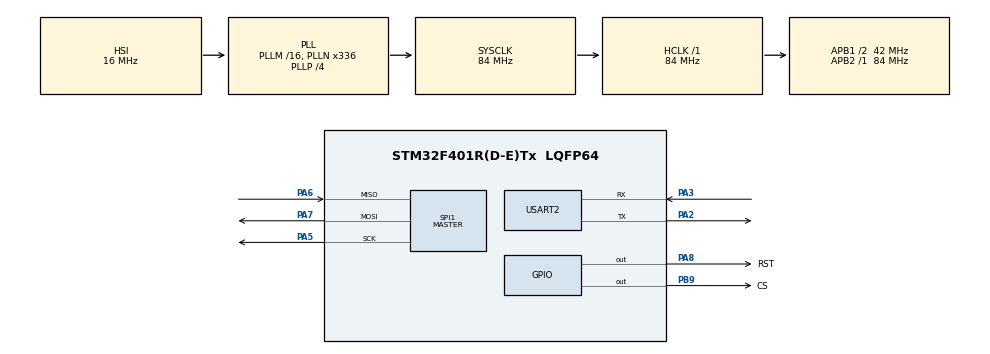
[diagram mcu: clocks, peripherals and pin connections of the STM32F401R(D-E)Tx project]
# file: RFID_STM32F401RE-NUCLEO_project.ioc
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Mcu.Family=STM32F4
Mcu.Name=STM32F401R(D-E)Tx
Mcu.Package=LQFP64
NVIC.PriorityGroup=NVIC_PRIORITYGROUP_0
PA13.Mode=Serial_Wire
PA13.Signal=SYS_JTMS-SWDIO
PA14.Mode=Serial_Wire
PA14.Signal=SYS_JTCK-SWCLK
PA2.Mode=Asynchronous
PA2.Signal=USART2_TX
PA3.Mode=Asynchronous
PA3.Signal=USART2_RX
PA5.Mode=Full_Duplex_Master
PA5.Signal=SPI1_SCK
PA6.Mode=Full_Duplex_Master
PA6.Signal=SPI1_MISO
PA7.Mode=Full_Duplex_Master
PA7.Signal=SPI1_MOSI
PA8.GPIO_Label=RST
PA8.Signal=GPIO_Output
PB9.GPIO_Label=CS
PB9.Signal=GPIO_Output
PH0\ -\ OSC_IN.Mode=HSE-External-Oscillator
PH0\ -\ OSC_IN.Signal=RCC_OSC_IN
PH1\ -\ OSC_OUT.Mode=HSE-External-Oscillator
PH1\ -\ OSC_OUT.Signal=RCC_OSC_OUT
ProjectManager.HeapSize=0x200
ProjectManager.StackSize=0x400
ProjectManager.TargetToolchain=STM32CubeIDE
RCC.48MHZClocksFreq_Value=48000000
RCC.AHBFreq_Value=84000000
RCC.APB1CLKDivider=RCC_HCLK_DIV2
RCC.APB1Freq_Value=42000000
RCC.APB1TimFreq_Value=84000000
RCC.APB2Freq_Value=84000000
RCC.APB2TimFreq_Value=84000000
RCC.CortexFreq_Value=84000000
RCC.HCLKFreq_Value=84000000
RCC.HSE_VALUE=8000000
RCC.HSI_VALUE=16000000
RCC.PLLN=336
RCC.PLLP=RCC_PLLP_DIV4
RCC.PLLQ=7
RCC.SYSCLKFreq_VALUE=84000000
RCC.SYSCLKSource=RCC_SYSCLKSOURCE_PLLCLK
RCC.VCOOutputFreq_Value=336000000
SPI1.BaudRatePrescaler=SPI_BAUDRATEPRESCALER_8
SPI1.Direction=SPI_DIRECTION_2LINES
SPI1.Mode=SPI_MODE_MASTER
SPI1.VirtualType=VM_MASTER
USART2.VirtualMode=VM_ASYNC
board=NUCLEO-F401RE

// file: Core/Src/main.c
/* USER CODE BEGIN Header */
/**
  ******************************************************************************
  * @file           : main.c
  * @brief          : Main program body
  ******************************************************************************
  * @attention
  *
  * Copyright (c) 2025 STMicroelectronics.
  * All rights reserved.
  *
  * This software is licensed under terms that can be found in the LICENSE file
  * in the root directory of this software component.
  * If no LICENSE file comes with this software, it is provided AS-IS.
  *
  ******************************************************************************
  */
/* USER CODE END Header */
#include "main.h"

/* USER CODE BEGIN Includes */
#include "RC522.h"
#include "string.h"
/* USER CODE END Includes */

SPI_HandleTypeDef hspi1;

UART_HandleTypeDef huart2;

/* USER CODE BEGIN PV */
uint8_t status ;
uint8_t str[16];
uint8_t sNum[5];

char *msg1 = "Reading from card \r\n";
char *msg2 = "Reading from TAG \r\n";
char *msg3 = "Hardware ERROR occured , PLEASE Check your RFID Module or Card/TAG !!\r\n";

/* USER CODE END PV */

void SystemClock_Config(void);
static void MX_GPIO_Init(void);
static void MX_SPI1_Init(void);
static void MX_USART2_UART_Init(void);

int main(void)
{

  /* MCU Configuration--------------------------------------------------------*/

  /* Reset of all peripherals, Initializes the Flash interface and the Systick. */
  HAL_Init();

  /* Configure the system clock */
  SystemClock_Config();

  /* Initialize all configured peripherals */
  MX_GPIO_Init();
  MX_SPI1_Init();
  MX_USART2_UART_Init();
  /* USER CODE BEGIN 2 */
  MFRC522_Init();
  /* USER CODE END 2 */

  /* Infinite loop */
  while (1)
  {
	  //Scan for the card ID
	  status = MFRC522_Request(PICC_REQIDL, str);
	  status = MFRC522_Anticoll(str);

	  memcpy(sNum,str,5) ;
	  HAL_Delay(200);
    /* USER CODE BEGIN 3 */
	  if((str[0]==131 && str[1]==32 &&  str[2]==86 &&  str[3]==17 && str[4]==244  ))
	  { HAL_UART_Transmit(&huart2, (uint8_t*)msg1 , strlen(msg1),HAL_MAX_DELAY);
	  }

	  if((str[0]==147 && str[1]==32 &&  str[2]==9 &&  str[3]==0 && str[4]==0  ))
	  { HAL_UART_Transmit(&huart2, (uint8_t*)msg2 , strlen(msg2),HAL_MAX_DELAY);
	  }
	  else {
		 HAL_UART_Transmit(&huart2, (uint8_t*)msg3, strlen(msg3),HAL_MAX_DELAY);

	  }
  }
  /* USER CODE END 3 */
}

void SystemClock_Config(void)
{
  RCC_OscInitTypeDef RCC_OscInitStruct = {0};
  RCC_ClkInitTypeDef RCC_ClkInitStruct = {0};

  /** Configure the main internal regulator output voltage
  */
  __HAL_RCC_PWR_CLK_ENABLE();
  __HAL_PWR_VOLTAGESCALING_CONFIG(PWR_REGULATOR_VOLTAGE_SCALE2);

  /** Initializes the RCC Oscillators according to the specified parameters
  * in the RCC_OscInitTypeDef structure.
  */
  RCC_OscInitStruct.OscillatorType = RCC_OSCILLATORTYPE_HSI;
  RCC_OscInitStruct.HSIState = RCC_HSI_ON;
  RCC_OscInitStruct.HSICalibrationValue = RCC_HSICALIBRATION_DEFAULT;
  RCC_OscInitStruct.PLL.PLLState = RCC_PLL_ON;
  RCC_OscInitStruct.PLL.PLLSource = RCC_PLLSOURCE_HSI;
  RCC_OscInitStruct.PLL.PLLM = 16;
  RCC_OscInitStruct.PLL.PLLN = 336;
  RCC_OscInitStruct.PLL.PLLP = RCC_PLLP_DIV4;
  RCC_OscInitStruct.PLL.PLLQ = 7;
  if (HAL_RCC_OscConfig(&RCC_OscInitStruct) != HAL_OK)
  {
    Error_Handler();
  }

  /** Initializes the CPU, AHB and APB buses clocks
  */
  RCC_ClkInitStruct.ClockType = RCC_CLOCKTYPE_HCLK|RCC_CLOCKTYPE_SYSCLK
                              |RCC_CLOCKTYPE_PCLK1|RCC_CLOCKTYPE_PCLK2;
  RCC_ClkInitStruct.SYSCLKSource = RCC_SYSCLKSOURCE_PLLCLK;
  RCC_ClkInitStruct.AHBCLKDivider = RCC_SYSCLK_DIV1;
  RCC_ClkInitStruct.APB1CLKDivider = RCC_HCLK_DIV2;
  RCC_ClkInitStruct.APB2CLKDivider = RCC_HCLK_DIV1;

  if (HAL_RCC_ClockConfig(&RCC_ClkInitStruct, FLASH_LATENCY_2) != HAL_OK)
  {
    Error_Handler();
  }
}

static void MX_SPI1_Init(void)
{

  /* SPI1 parameter configuration*/
  hspi1.Instance = SPI1;
  hspi1.Init.Mode = SPI_MODE_MASTER;
  hspi1.Init.Direction = SPI_DIRECTION_2LINES;
  hspi1.Init.DataSize = SPI_DATASIZE_8BIT;
  hspi1.Init.CLKPolarity = SPI_POLARITY_LOW;
  hspi1.Init.CLKPhase = SPI_PHASE_1EDGE;
  hspi1.Init.NSS = SPI_NSS_SOFT;
  hspi1.Init.BaudRatePrescaler = SPI_BAUDRATEPRESCALER_8;
  hspi1.Init.FirstBit = SPI_FIRSTBIT_MSB;
  hspi1.Init.TIMode = SPI_TIMODE_DISABLE;
  hspi1.Init.CRCCalculation = SPI_CRCCALCULATION_DISABLE;
  hspi1.Init.CRCPolynomial = 10;
  if (HAL_SPI_Init(&hspi1) != HAL_OK)
  {
    Error_Handler();
  }

}

static void MX_USART2_UART_Init(void)
{

  huart2.Instance = USART2;
  huart2.Init.BaudRate = 115200;
  huart2.Init.WordLength = UART_WORDLENGTH_8B;
  huart2.Init.StopBits = UART_STOPBITS_1;
  huart2.Init.Parity = UART_PARITY_NONE;
  huart2.Init.Mode = UART_MODE_TX_RX;
  huart2.Init.HwFlowCtl = UART_HWCONTROL_NONE;
  huart2.Init.OverSampling = UART_OVERSAMPLING_16;
  if (HAL_UART_Init(&huart2) != HAL_OK)
  {
    Error_Handler();
  }

}

static void MX_GPIO_Init(void)
{
  GPIO_InitTypeDef GPIO_InitStruct = {0};

  /* GPIO Ports Clock Enable */
  __HAL_RCC_GPIOH_CLK_ENABLE();
  __HAL_RCC_GPIOA_CLK_ENABLE();
  __HAL_RCC_GPIOB_CLK_ENABLE();

  /*Configure GPIO pin Output Level */
  HAL_GPIO_WritePin(RST_GPIO_Port, RST_Pin, GPIO_PIN_RESET);

  /*Configure GPIO pin Output Level */
  HAL_GPIO_WritePin(CS_GPIO_Port, CS_Pin, GPIO_PIN_RESET);

  /*Configure GPIO pin : RST_Pin */
  GPIO_InitStruct.Pin = RST_Pin;
  GPIO_InitStruct.Mode = GPIO_MODE_OUTPUT_PP;
  GPIO_InitStruct.Pull = GPIO_NOPULL;
  GPIO_InitStruct.Speed = GPIO_SPEED_FREQ_LOW;
  HAL_GPIO_Init(RST_GPIO_Port, &GPIO_InitStruct);

  /*Configure GPIO pin : CS_Pin */
  GPIO_InitStruct.Pin = CS_Pin;
  GPIO_InitStruct.Mode = GPIO_MODE_OUTPUT_PP;
  GPIO_InitStruct.Pull = GPIO_NOPULL;
  GPIO_InitStruct.Speed = GPIO_SPEED_FREQ_LOW;
  HAL_GPIO_Init(CS_GPIO_Port, &GPIO_InitStruct);

}

void Error_Handler(void)
{
  __disable_irq();
  while (1)
  {
  }
}
